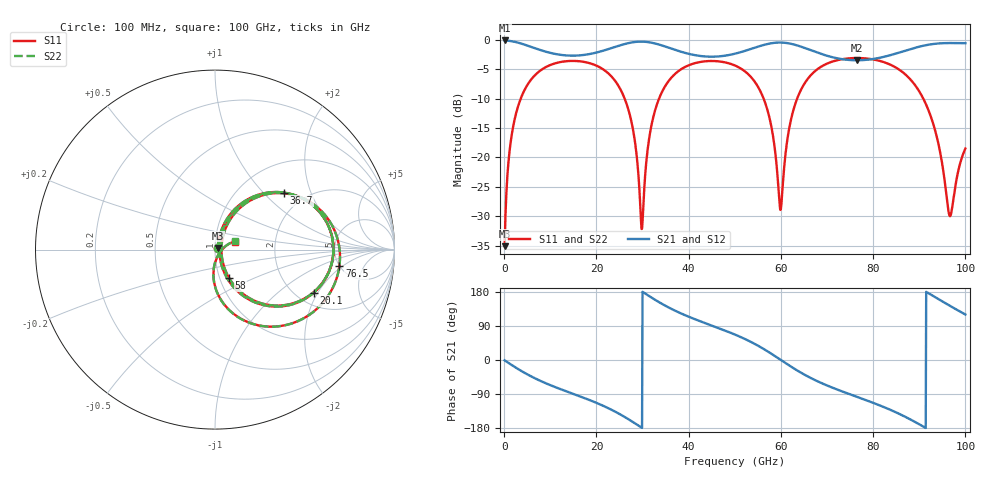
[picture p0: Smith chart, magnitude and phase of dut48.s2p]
! Touchstone file exported from HFSS 2026.1.0
!  File:  C:/ffzhzh/LocalFiles/Ansys_Project_Files/temp_train_TSV_RDL_48_1783620777_29156.aedt
!  Generated:  02:19:41 AM Jul 10, 2026
!  Design:  TSV_RDL
!  Project:  temp_train_TSV_RDL_48_1783620777_29156
! Variables:
!  h_bsmrdl = 3.19um
!  h_ox = 20um
!  h_rdl = 5um
!  h_sub = 52.82um
!  h_tmrdl = 2.37um
!  h_tsv = 52.82um
!  h_via = 3um
!  l_bsmrdl = 358.65um
!  l_sub = 2174.78um
!  l_tmrdl = 148.27um
!  m_sub = 200um
!  pitch = 56.04um
!  r_tsv = 5.77um
!  s_tmrdl = 10um
!  w_bsmrdl = 15.09um
!  w_sub = 500um
!  w_tmrdl = 20.16um
!  x_tsv_center1 = 158.35um
!  x_tsv_center2 = 532.09um
!  x_tsv_center3 = 700.52um
!  x_tsv_center4 = 1074.26um
!  x_tsv_center5 = 1242.69um
!  x_tsv_center6 = 1616.43um
# GHz S MA R 50.000000
! Terminal data exported
! Port[1] = TM_RDL1_1_T1
! Port[2] = TM_RDL5_1_T1
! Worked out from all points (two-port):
!   1000 points, 100 MHz to 100 GHz, reference 50 ohm
!   highest |S21| = -0.13 dB at 100 MHz (marker M1); lowest = -3.5 dB at 76.5 GHz (marker M2)
!   |S21| within 3 dB of the highest: start of sweep to 72.03 GHz; 81.05 GHz to end of sweep
!   lowest |S11| = -35.1 dB at 100 MHz (marker M3), VSWR 1.04, Z = 51.5 + j1.01 ohm
!   |S11| at or under -10 dB: 26.12 GHz to 33.59 GHz (7.462 GHz wide, 25 % of centre); 56.25 GHz to 63.52 GHz (7.272 GHz wide, 12.1 % of centre); 90.87 GHz to end of sweep (the widest 3 of 4)
!   |S22| runs from -35.1 to -3.1 dB; largest |S21 - S12| = 4.7e-13
!   S11 on the Smith chart (normalised r, x): 100 MHz: 1.03, +0.02; 20.1 GHz: 2.45, -1.85; 36.7 GHz: 1.57, +1.32; 58 GHz: 1.11, -0.36; 76.5 GHz: 4.96, -1.81; 100 GHz: 1.24, +0.11
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0.1  0.01766 33.8  0.9854 -0.8  0.9854 -0.8  0.01766 33.8
! Gamma 0 0 0 0
! Port Impedance 50 0 50 0
1.5  0.1429 70.9  0.9726 -12.1  0.9726 -12.1  0.1429 70.9
4.2  0.359 54.6  0.9142 -32.3  0.9142 -32.3  0.359 54.6
16.8  0.6528 -8.4  0.7388 -97.6  0.7388 -97.6  0.6528 -8.4
20.1  0.5999 -23.7  0.7795 -113.5  0.7795 -113.5  0.5999 -23.7
26.8  0.2654 -61.4  0.933 -155.2  0.933 -155.2  0.2654 -61.5
28.4  0.1326 -68.1  0.9569 -167.4  0.9569 -167.4  0.1326 -68.3
29.8  0.02468 -8.8  0.9632 -178.5  0.9632 -178.5  0.02434 -9.0
31.5  0.1506 68.1  0.9501 168.1  0.9501 168.1  0.1505 68.2
33.4  0.3027 58.8  0.9138 153.9  0.9138 153.9  0.3027 58.9
36.7  0.4971 39.5  0.8293 132.2  0.8293 132.2  0.4971 39.5
43.4  0.6544 7.2  0.7215 98.2  0.7215 98.2  0.6544 7.2
50.1  0.6026 -22.5  0.7615 66.8  0.7615 66.8  0.6026 -22.5
58  0.1773 -63.6  0.934 16.0  0.934 16.0  0.1772 -63.6
60  0.03679 12.4  0.9461 0.0  0.9461 0.0  0.03658 12.5
62.5  0.2356 61.1  0.9173 -19.8  0.9173 -19.8  0.2356 61.2
66.7  0.5098 37.7  0.8084 -48.9  0.8084 -48.9  0.5098 37.7
76.5  0.6991 -7.6  0.6689 -97.2  0.6689 -97.2  0.6992 -7.7
83.4  0.6218 -38.4  0.7332 -129.7  0.7332 -129.7  0.6219 -38.5
91.8  0.2633 -84.9  0.9039 177.8  0.9039 177.8  0.2633 -85.1
96.6  0.03181 -38.5  0.9368 143.3  0.9368 143.3  0.03082 -38.7
100  0.1191 21.9  0.9341 120.0  0.9341 120.0  0.1189 22.4
